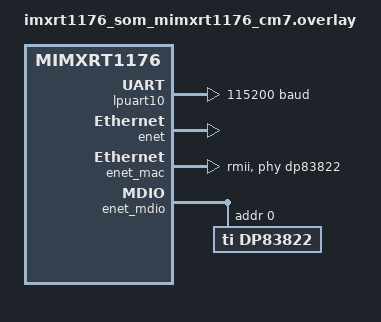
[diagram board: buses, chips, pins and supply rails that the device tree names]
/*
 * Copyright 2026 Calixto Systems Pvt Ltd
 *
 * SPDX-License-Identifier: Apache-2.0
 */


 / {


	chosen {
        zephyr,console = &lpuart10;
		zephyr,shell-uart = &lpuart10;
	};

};



&pinctrl{

	pinmux_lpuart10: pinmux_lpuart10 {
		group0 {
			pinmux = <&iomuxc_gpio_ad_15_lpuart10_tx>,
				<&iomuxc_gpio_ad_16_lpuart10_rx>;
			drive-strength = "high";
			bias-pull-up;
			slew-rate = "fast";
		};
	};

	pinmux_enet0: pinmux_enet0 {
		group0 {
			pinmux = <&iomuxc_gpio_disp_b2_06_enet_rdata00>,
				<&iomuxc_gpio_disp_b2_07_enet_rdata01>;
			drive-strength = "high";
			bias-pull-down;
			slew-rate = "fast";
			input-enable;
		};
		group1 {
			pinmux = <&iomuxc_gpio_disp_b2_09_enet_rx_er>,
				<&iomuxc_gpio_disp_b2_08_enet_rx_en>;
			drive-strength = "high";
			bias-pull-down;
			slew-rate = "fast";
		};
		group2 {
			pinmux = <&iomuxc_gpio_disp_b2_03_enet_tdata01>,
				<&iomuxc_gpio_disp_b2_02_enet_tdata00>,
				<&iomuxc_gpio_disp_b2_04_enet_tx_en>;
			drive-strength = "high";
			slew-rate = "fast";
		};
		group4 {
			pinmux = <&iomuxc_gpio_disp_b2_05_enet_ref_clk>;
			drive-strength = "high";
			slew-rate = "slow";
			input-enable;
		};
	};

	/* Configures pin routing and optionally pin electrical features. */
	pinmux_enet0_mdio: pinmux_enet0_mdio {
		group0 {
			pinmux = <&iomuxc_gpio_ad_33_enet_mdio>,
				<&iomuxc_gpio_ad_32_enet_mdc>;
			drive-strength = "high";
			slew-rate = "fast";
		};
	};

	/* Configures pin routing and optionally pin electrical features. */
	pinmux_enet0_ptp: pinmux_enet0_ptp {
	};

	/* Configures pin routing and optionally pin electrical features. */
	pinmux_enet1: pinmux_enet1 {
		group0 {
			pinmux = <&iomuxc_gpio_disp_b1_01_enet_1g_rx_er>,
				<&iomuxc_gpio_disp_b1_00_enet_1g_rx_en>;
			drive-strength = "high";
			bias-pull-down;
		};
		group1 {
			pinmux = <&iomuxc_gpio_disp_b1_02_enet_1g_rdata00>,
				<&iomuxc_gpio_disp_b1_03_enet_1g_rdata01>;
			drive-strength = "high";
			bias-pull-down;
			input-enable;
		};
		group2 {
			pinmux = <&iomuxc_gpio_disp_b1_08_enet_1g_tdata01>,
				<&iomuxc_gpio_disp_b1_09_enet_1g_tdata00>,
				<&iomuxc_gpio_disp_b1_10_enet_1g_tx_en>;
			drive-strength = "high";
			bias-disable;
		};
		group3 {
			pinmux = <&iomuxc_gpio_disp_b1_11_enet_1g_ref_clk1>;
			drive-strength = "high";
			bias-disable;
			input-enable;
		};
	};

	/* Configures pin routing and optionally pin electrical features. */
	pinmux_enet1_mdio: pinmux_enet1_mdio {
		group0 {
			pinmux = <&iomuxc_gpio_emc_b2_20_enet_1g_mdio>,
				<&iomuxc_gpio_emc_b2_19_enet_1g_mdc>;
			drive-strength = "high";
			bias-pull-down;
		};
	};

	/* Configures pin routing and optionally pin electrical features. */
	pinmux_enet1_ptp: pinmux_enet1_ptp {
	};



};




&lpuart10 {
	status = "okay";

	pinctrl-0 = <&pinmux_lpuart10>;
	pinctrl-names = "default";

	current-speed = <115200>;
};

&enet {
	status = "okay";
};

&enet_mac {
	pinctrl-0 = <&pinmux_enet0>;
	pinctrl-names = "default";
  	status = "okay";
  	phy-handle = <&dp83822>;
  	phy-connection-type = "rmii";
  	zephyr,random-mac-address;
};

&enet_mdio {
	status = "okay";
	pinctrl-0 = <&pinmux_enet0_mdio>;
	pinctrl-names = "default";
	dp83822: phy@0 {
		compatible = "ti,dp83822";
		reg = <0>;
		status = "okay";
		ti,rmii-mode = "slave";
	};
};

&enet_ptp_clock {
	status = "okay";
	pinctrl-0 = <&pinmux_enet0_ptp>;
	pinctrl-names = "default";
};


// &enet1g{
// 	pinctrl-0 = <&pinmux_enet1>;
// 	pinctrl-names = "default";
// 	status = "okay";
// };

// &enet1g_mac {
// 	status = "okay";

// 	phy-handle = <&dp83822>;
// 	phy-connection-type = "rmii";
// 	zephyr,random-mac-address;
// };

// &enet1g_mdio {
// 	status = "okay";
// 	pinctrl-0 = <&pinmux_enet1_mdio>;
// 	pinctrl-names = "default";
// 	dp83822: phy@1 {
// 		compatible = "ti,dp83822";
// 		reg = <1>;
// 		status = "okay";
// 		ti,rmii-mode = "slave";
// 	};
// };

// &enet1g_ptp_clock {
// 	status = "okay";
// 	pinctrl-0 = <&pinmux_enet1_ptp>;
// 	pinctrl-names = "default";
// };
